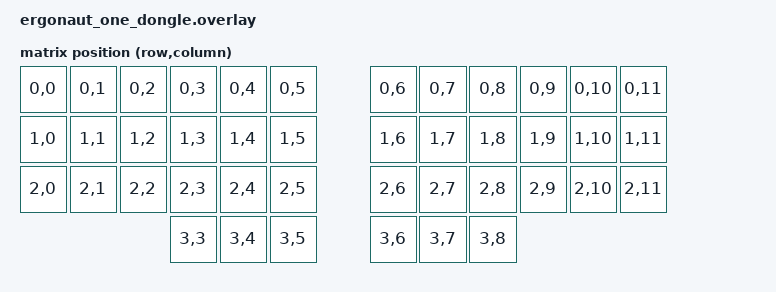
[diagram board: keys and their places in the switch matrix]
#include <dt-bindings/zmk/matrix_transform.h>
#include <dt-bindings/gpio/gpio.h>
#include <dt-bindings/pwm/pwm.h>
#include <dt-bindings/pinctrl/nrf-pinctrl.h>

/ {
    chosen {
        zmk,matrix-transform = &default_transform;
        zmk,kscan = &mock_kscan;
        zephyr,display = &st7789;
        zmk,backlight = &disp_bl;
    };

    /* Scanner factice pour dongle sans matrice physique */
    mock_kscan: kscan_0 {
        compatible = "zmk,kscan-mock";
        columns = <0>;
        rows = <0>;
        events = <0>;
    };

    /* Disposition des 42 touches de l'Ergonaut One */
    default_transform: matrix_transform {
        compatible = "zmk,matrix-transform";
        columns = <12>;
        rows = <4>;
        map = <
            RC(0,0) RC(0,1) RC(0,2) RC(0,3) RC(0,4) RC(0,5)  RC(0,6) RC(0,7) RC(0,8) RC(0,9) RC(0,10) RC(0,11)
            RC(1,0) RC(1,1) RC(1,2) RC(1,3) RC(1,4) RC(1,5)  RC(1,6) RC(1,7) RC(1,8) RC(1,9) RC(1,10) RC(1,11)
            RC(2,0) RC(2,1) RC(2,2) RC(2,3) RC(2,4) RC(2,5)  RC(2,6) RC(2,7) RC(2,8) RC(2,9) RC(2,10) RC(2,11)
                                            RC(3,3) RC(3,4) RC(3,5)  RC(3,6) RC(3,7) RC(3,8)
        >;
    };

    /* Bouton utilisateur sur P0.31 */
    gpio_keys {
        compatible = "gpio-keys";
        user_button: button_0 {
            gpios = <&gpio0 31 (GPIO_PULL_UP | GPIO_ACTIVE_LOW)>;
            label = "User Button";
        };
    };

    /* Rétroéclairage PWM sur P1.04 */
    pwm_leds: pwm_leds {
        compatible = "pwm-leds";
        disp_bl: disp_bl {
            pwms = <&pwm0 0 PWM_MSEC(20) PWM_POLARITY_INVERTED>;
            label = "Backlight PWM";
        };
    };
};

/* Configuration des broches matérielles (Pinctrl) */
&pinctrl {
    spi1_default: spi1_default {
        group1 {
            psels = <NRF_PSEL(SPIM_SCK, 0, 17)>,
                    <NRF_PSEL(SPIM_MOSI, 0, 20)>;
        };
    };

    spi1_sleep: spi1_sleep {
        group1 {
            psels = <NRF_PSEL(SPIM_SCK, 0, 17)>,
                    <NRF_PSEL(SPIM_MOSI, 0, 20)>;
            low-power-enable;
        };
    };

    pwm0_default: pwm0_default {
        group1 {
            psels = <NRF_PSEL(PWM_OUT0, 1, 4)>;
        };
    };

    pwm0_sleep: pwm0_sleep {
        group1 {
            psels = <NRF_PSEL(PWM_OUT0, 1, 4)>;
            low-power-enable;
        };
    };
};

&pwm0 {
    status = "okay";
    pinctrl-0 = <&pwm0_default>;
    pinctrl-1 = <&pwm0_sleep>;
    pinctrl-names = "default", "sleep";
};

/* Contrôleur SPI1 pour l'écran */
&spi1 {
    status = "okay";
    pinctrl-0 = <&spi1_default>;
    pinctrl-1 = <&spi1_sleep>;
    pinctrl-names = "default", "sleep";
    cs-gpios = <&gpio0 11 GPIO_ACTIVE_LOW>;

    mipi_dbi: mipi_dbi {
        compatible = "zephyr,mipi-dbi-spi";
        spi-dev = <&spi1>;
        dc-gpios = <&gpio0 24 GPIO_ACTIVE_HIGH>;
        reset-gpios = <&gpio0 22 GPIO_ACTIVE_LOW>;
        #address-cells = <1>;
        #size-cells = <0>;

        st7789: st7789@0 {
            compatible = "sitronix,st7789v";
            reg = <0>;
            mipi-max-frequency = <20000000>;
            width = <240>;
            height = <240>;
            x-offset = <0>;
            y-offset = <0>;
            rgb-param = [00 00 06 06 00];
            mipi-mode = "MIPI_DBI_MODE_SPI_4WIRE";
        };
    };
};
